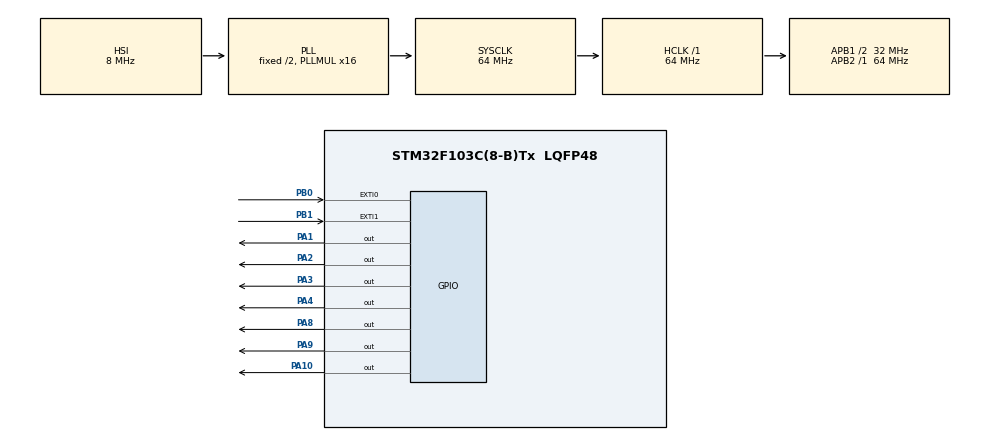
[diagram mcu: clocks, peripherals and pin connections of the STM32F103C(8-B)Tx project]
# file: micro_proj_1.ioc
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Mcu.Family=STM32F1
Mcu.Name=STM32F103C(8-B)Tx
Mcu.Package=LQFP48
NVIC.EXTI0_IRQn=true\:0\:0\:false\:false\:true\:true\:true\:true
NVIC.EXTI1_IRQn=true\:0\:0\:false\:false\:true\:true\:true\:true
NVIC.PriorityGroup=NVIC_PRIORITYGROUP_4
PA1.PinState=GPIO_PIN_RESET
PA1.Signal=GPIO_Output
PA10.PinState=GPIO_PIN_RESET
PA10.Signal=GPIO_Output
PA13.Mode=Serial_Wire
PA13.Signal=SYS_JTMS-SWDIO
PA14.Mode=Serial_Wire
PA14.Signal=SYS_JTCK-SWCLK
PA2.PinState=GPIO_PIN_RESET
PA2.Signal=GPIO_Output
PA3.PinState=GPIO_PIN_RESET
PA3.Signal=GPIO_Output
PA4.PinState=GPIO_PIN_RESET
PA4.Signal=GPIO_Output
PA8.PinState=GPIO_PIN_RESET
PA8.Signal=GPIO_Output
PA9.PinState=GPIO_PIN_RESET
PA9.Signal=GPIO_Output
PB0.Signal=GPXTI0
PB1.Signal=GPXTI1
ProjectManager.HeapSize=0x200
ProjectManager.StackSize=0x400
ProjectManager.TargetToolchain=STM32CubeIDE
RCC.AHBFreq_Value=64000000
RCC.APB1CLKDivider=RCC_HCLK_DIV2
RCC.APB1Freq_Value=32000000
RCC.APB1TimFreq_Value=64000000
RCC.APB2Freq_Value=64000000
RCC.APB2TimFreq_Value=64000000
RCC.HCLKFreq_Value=64000000
RCC.PLLMUL=RCC_PLL_MUL16
RCC.SYSCLKFreq_VALUE=64000000
RCC.SYSCLKSource=RCC_SYSCLKSOURCE_PLLCLK
RCC.USBFreq_Value=64000000
board=custom

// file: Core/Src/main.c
/* USER CODE BEGIN Header */
/**
  ******************************************************************************
  * @file           : main.c
  * @brief          : Main program body
  ******************************************************************************
  * @attention
  *
  * Copyright (c) 2023 STMicroelectronics.
  * All rights reserved.
  *
  * This software is licensed under terms that can be found in the LICENSE file
  * in the root directory of this software component.
  * If no LICENSE file comes with this software, it is provided AS-IS.
  *
  ******************************************************************************
  */
/* USER CODE END Header */
#include "main.h"

/* USER CODE BEGIN PV */
 __int8_t count = 0 ;
/* USER CODE END PV */

void SystemClock_Config(void);
static void MX_GPIO_Init(void);
void countUp (void);
void countDown (void);

int main(void)
{

  /* MCU Configuration--------------------------------------------------------*/

  /* Reset of all peripherals, Initializes the Flash interface and the Systick. */
  HAL_Init();

  /* Configure the system clock */
  SystemClock_Config();

  /* Initialize all configured peripherals */
  MX_GPIO_Init();

  /* Infinite loop */
  /* USER CODE BEGIN WHILE */
  while (1)
  {
	  switch (count) {
	 	  		  case 0 :
	 	  			  HAL_GPIO_WritePin(GPIOA, GPIO_PIN_1, 1);
	 	  			  HAL_GPIO_WritePin(GPIOA, GPIO_PIN_2, 0);
	 	  			  HAL_GPIO_WritePin(GPIOA, GPIO_PIN_3, 0);
	 	  		 	  HAL_GPIO_WritePin(GPIOA, GPIO_PIN_4, 0);
	 	  			  HAL_GPIO_WritePin(GPIOA, GPIO_PIN_8, 0);
	 	  		 	  HAL_GPIO_WritePin(GPIOA, GPIO_PIN_9, 0);
	 	  			  HAL_GPIO_WritePin(GPIOA, GPIO_PIN_10, 0);
	 	  			  HAL_Delay(500);

	 	  			  break;

	 	  		  case 1 :
	 	  			  HAL_GPIO_WritePin(GPIOA, GPIO_PIN_1, 1);
	 	  		  	  HAL_GPIO_WritePin(GPIOA, GPIO_PIN_2, 1);
	 	  		  	  HAL_GPIO_WritePin(GPIOA, GPIO_PIN_3, 1);
	 	  		  	  HAL_GPIO_WritePin(GPIOA, GPIO_PIN_4, 0);
	 	  		  	  HAL_GPIO_WritePin(GPIOA, GPIO_PIN_8, 0);
	 	  		  	  HAL_GPIO_WritePin(GPIOA, GPIO_PIN_9, 1);
	 	  		  	  HAL_GPIO_WritePin(GPIOA, GPIO_PIN_10, 1);
	 	  		  	  HAL_Delay(500);

	 	  		  	break;

	 	  		  case 2 :
	 	  			  HAL_GPIO_WritePin(GPIOA, GPIO_PIN_1, 0);
	 	  		  	  HAL_GPIO_WritePin(GPIOA, GPIO_PIN_2, 1);
	 	  		  	  HAL_GPIO_WritePin(GPIOA, GPIO_PIN_3, 0);
	 	  		  	  HAL_GPIO_WritePin(GPIOA, GPIO_PIN_4, 0);
	 	  		  	  HAL_GPIO_WritePin(GPIOA, GPIO_PIN_8, 1);
	 	  		  	  HAL_GPIO_WritePin(GPIOA, GPIO_PIN_9, 0);
	 	       	  	  HAL_GPIO_WritePin(GPIOA, GPIO_PIN_10, 0);
	 	       	  	  HAL_Delay(500);

	 	  			  break;

	 	  		  case 3 :
	 	  			  HAL_GPIO_WritePin(GPIOA, GPIO_PIN_1, 0);
	 	  		 	  HAL_GPIO_WritePin(GPIOA, GPIO_PIN_2, 1);
	 	  		 	  HAL_GPIO_WritePin(GPIOA, GPIO_PIN_3, 0);
	 	  		 	  HAL_GPIO_WritePin(GPIOA, GPIO_PIN_4, 0);
	 	  		 	  HAL_GPIO_WritePin(GPIOA, GPIO_PIN_8, 0);
	 	  		 	  HAL_GPIO_WritePin(GPIOA, GPIO_PIN_9, 0);
	 	  		 	  HAL_GPIO_WritePin(GPIOA, GPIO_PIN_10, 1);
	 	  		 	  HAL_Delay(500);

	 	  		  	  break;

	 	  		  case 4 :
	 	  			  HAL_GPIO_WritePin(GPIOA, GPIO_PIN_1, 0);
	 	  		 	  HAL_GPIO_WritePin(GPIOA, GPIO_PIN_2, 0);
	 	  		 	  HAL_GPIO_WritePin(GPIOA, GPIO_PIN_3, 1);
	 	  		 	  HAL_GPIO_WritePin(GPIOA, GPIO_PIN_4, 0);
	 	  		 	  HAL_GPIO_WritePin(GPIOA, GPIO_PIN_8, 0);
	 	  		 	  HAL_GPIO_WritePin(GPIOA, GPIO_PIN_9, 1);
	 	  		 	  HAL_GPIO_WritePin(GPIOA, GPIO_PIN_10, 1);
	 	  		 	  HAL_Delay(500);

	 	  		  	  break;

	 	  		  case 5 :
	 	  			  HAL_GPIO_WritePin(GPIOA, GPIO_PIN_1, 0);
	 	  		 	  HAL_GPIO_WritePin(GPIOA, GPIO_PIN_2, 0);
	 	  		 	  HAL_GPIO_WritePin(GPIOA, GPIO_PIN_3, 0);
	 	  		 	  HAL_GPIO_WritePin(GPIOA, GPIO_PIN_4, 1);
	 	  		 	  HAL_GPIO_WritePin(GPIOA, GPIO_PIN_8, 0);
	 	  		 	  HAL_GPIO_WritePin(GPIOA, GPIO_PIN_9, 0);
	 	  		 	  HAL_GPIO_WritePin(GPIOA, GPIO_PIN_10, 1);
	 	  		 	  HAL_Delay(500);

	 	  		  	  break;

	 	  		  case 6 :
	 	  			  HAL_GPIO_WritePin(GPIOA, GPIO_PIN_1, 0);
	 	  		  	  HAL_GPIO_WritePin(GPIOA, GPIO_PIN_2, 0);
	 	  		  	  HAL_GPIO_WritePin(GPIOA, GPIO_PIN_3, 0);
	 	  		  	  HAL_GPIO_WritePin(GPIOA, GPIO_PIN_4, 1);
	 	  		  	  HAL_GPIO_WritePin(GPIOA, GPIO_PIN_8, 0);
	 	  		  	  HAL_GPIO_WritePin(GPIOA, GPIO_PIN_9, 0);
	 	  		  	  HAL_GPIO_WritePin(GPIOA, GPIO_PIN_10, 0);
	 	  		      HAL_Delay(500);

	 	  			  break;

	 	  		  case 7 :
	 	  			  HAL_GPIO_WritePin(GPIOA, GPIO_PIN_1, 1);
	 	  		  	  HAL_GPIO_WritePin(GPIOA, GPIO_PIN_2, 1);
	 	  		  	  HAL_GPIO_WritePin(GPIOA, GPIO_PIN_3, 0);
	 	  		  	  HAL_GPIO_WritePin(GPIOA, GPIO_PIN_4, 0);
	 	  		  	  HAL_GPIO_WritePin(GPIOA, GPIO_PIN_8, 0);
	 	  		  	  HAL_GPIO_WritePin(GPIOA, GPIO_PIN_9, 1);
	 	  		  	  HAL_GPIO_WritePin(GPIOA, GPIO_PIN_10, 1);
	 	  		      HAL_Delay(500);

	 	   			  break;

	 	  		  case 8 :
	 	  			  HAL_GPIO_WritePin(GPIOA, GPIO_PIN_1, 0);
	 	  		 	  HAL_GPIO_WritePin(GPIOA, GPIO_PIN_2, 0);
	 	  		 	  HAL_GPIO_WritePin(GPIOA, GPIO_PIN_3, 0);
	 	  		 	  HAL_GPIO_WritePin(GPIOA, GPIO_PIN_4, 0);
	 	  		 	  HAL_GPIO_WritePin(GPIOA, GPIO_PIN_8, 0);
	 	  		 	  HAL_GPIO_WritePin(GPIOA, GPIO_PIN_9, 0);
	 	  		 	  HAL_GPIO_WritePin(GPIOA, GPIO_PIN_10, 0);
	 	  		 	  HAL_Delay(500);

	 	  			  break;

	 	  		  case 9 :
	 	  			  HAL_GPIO_WritePin(GPIOA, GPIO_PIN_1, 0);
	 	  		  	  HAL_GPIO_WritePin(GPIOA, GPIO_PIN_2, 0);
	 	  		  	  HAL_GPIO_WritePin(GPIOA, GPIO_PIN_3, 0);
	 	  		  	  HAL_GPIO_WritePin(GPIOA, GPIO_PIN_4, 0);
	 	  		  	  HAL_GPIO_WritePin(GPIOA, GPIO_PIN_8, 0);
	 	  		  	  HAL_GPIO_WritePin(GPIOA, GPIO_PIN_9, 0);
	 	  		  	  HAL_GPIO_WritePin(GPIOA, GPIO_PIN_10, 1);
	 	  		      HAL_Delay(500);

	 	  		  	  break;

	 	  		  default :
	 	  			  if(count > 9)
	 	  			  {
	 	  				  count = 0 ;
	 	  			  }
	 	  			  else if (count < 0)
	 	  			  {
	 	  				  count = 9 ;
	 	  			  }

	 	  	  }

    /* USER CODE END WHILE */

  }
}

void SystemClock_Config(void)
{
  RCC_OscInitTypeDef RCC_OscInitStruct = {0};
  RCC_ClkInitTypeDef RCC_ClkInitStruct = {0};

  /** Initializes the RCC Oscillators according to the specified parameters
  * in the RCC_OscInitTypeDef structure.
  */
  RCC_OscInitStruct.OscillatorType = RCC_OSCILLATORTYPE_HSI;
  RCC_OscInitStruct.HSIState = RCC_HSI_ON;
  RCC_OscInitStruct.HSICalibrationValue = RCC_HSICALIBRATION_DEFAULT;
  RCC_OscInitStruct.PLL.PLLState = RCC_PLL_ON;
  RCC_OscInitStruct.PLL.PLLSource = RCC_PLLSOURCE_HSI_DIV2;
  RCC_OscInitStruct.PLL.PLLMUL = RCC_PLL_MUL16;
  if (HAL_RCC_OscConfig(&RCC_OscInitStruct) != HAL_OK)
  {
    Error_Handler();
  }

  /** Initializes the CPU, AHB and APB buses clocks
  */
  RCC_ClkInitStruct.ClockType = RCC_CLOCKTYPE_HCLK|RCC_CLOCKTYPE_SYSCLK
                              |RCC_CLOCKTYPE_PCLK1|RCC_CLOCKTYPE_PCLK2;
  RCC_ClkInitStruct.SYSCLKSource = RCC_SYSCLKSOURCE_PLLCLK;
  RCC_ClkInitStruct.AHBCLKDivider = RCC_SYSCLK_DIV1;
  RCC_ClkInitStruct.APB1CLKDivider = RCC_HCLK_DIV2;
  RCC_ClkInitStruct.APB2CLKDivider = RCC_HCLK_DIV1;

  if (HAL_RCC_ClockConfig(&RCC_ClkInitStruct, FLASH_LATENCY_2) != HAL_OK)
  {
    Error_Handler();
  }
}

static void MX_GPIO_Init(void)
{
  GPIO_InitTypeDef GPIO_InitStruct = {0};

  /* GPIO Ports Clock Enable */
  __HAL_RCC_GPIOA_CLK_ENABLE();
  __HAL_RCC_GPIOB_CLK_ENABLE();

  /*Configure GPIO pin Output Level */
  HAL_GPIO_WritePin(GPIOA, GPIO_PIN_1|GPIO_PIN_2|GPIO_PIN_3|GPIO_PIN_4
                          |GPIO_PIN_8|GPIO_PIN_9|GPIO_PIN_10, GPIO_PIN_SET);

  /*Configure GPIO pins : PA1 PA2 PA3 PA4
                           PA8 PA9 PA10 */
  GPIO_InitStruct.Pin = GPIO_PIN_1|GPIO_PIN_2|GPIO_PIN_3|GPIO_PIN_4
                          |GPIO_PIN_8|GPIO_PIN_9|GPIO_PIN_10;
  GPIO_InitStruct.Mode = GPIO_MODE_OUTPUT_PP;
  GPIO_InitStruct.Pull = GPIO_NOPULL;
  GPIO_InitStruct.Speed = GPIO_SPEED_FREQ_LOW;
  HAL_GPIO_Init(GPIOA, &GPIO_InitStruct);

  /*Configure GPIO pins : PB0 PB1 */
  GPIO_InitStruct.Pin = GPIO_PIN_0|GPIO_PIN_1;
  GPIO_InitStruct.Mode = GPIO_MODE_IT_RISING;
  GPIO_InitStruct.Pull = GPIO_NOPULL;
  HAL_GPIO_Init(GPIOB, &GPIO_InitStruct);

  /* EXTI interrupt init*/
  HAL_NVIC_SetPriority(EXTI0_IRQn, 0, 0);
  HAL_NVIC_EnableIRQ(EXTI0_IRQn);

  HAL_NVIC_SetPriority(EXTI1_IRQn, 0, 0);
  HAL_NVIC_EnableIRQ(EXTI1_IRQn);

}

/* USER CODE BEGIN 4 */

void HAL_GPIO_EXTI_Callback(uint16_t GPIO_Pin)
{

	if(GPIO_Pin == GPIO_PIN_1) // If The INT Source Is EXTI Line1 (b1 Pin)
		    {
			countUp() ;
		    }

	else if(GPIO_Pin == GPIO_PIN_0) // If The INT Source Is EXTI Line0 (b0 Pin)
		    {
		    countDown();
		    }
}

void countUp (void)
{
	count ++;
}

void countDown (void)
{
	count --;
}

/* USER CODE END 4 */

void Error_Handler(void)
{
  __disable_irq();
  while (1)
  {
  }
}
